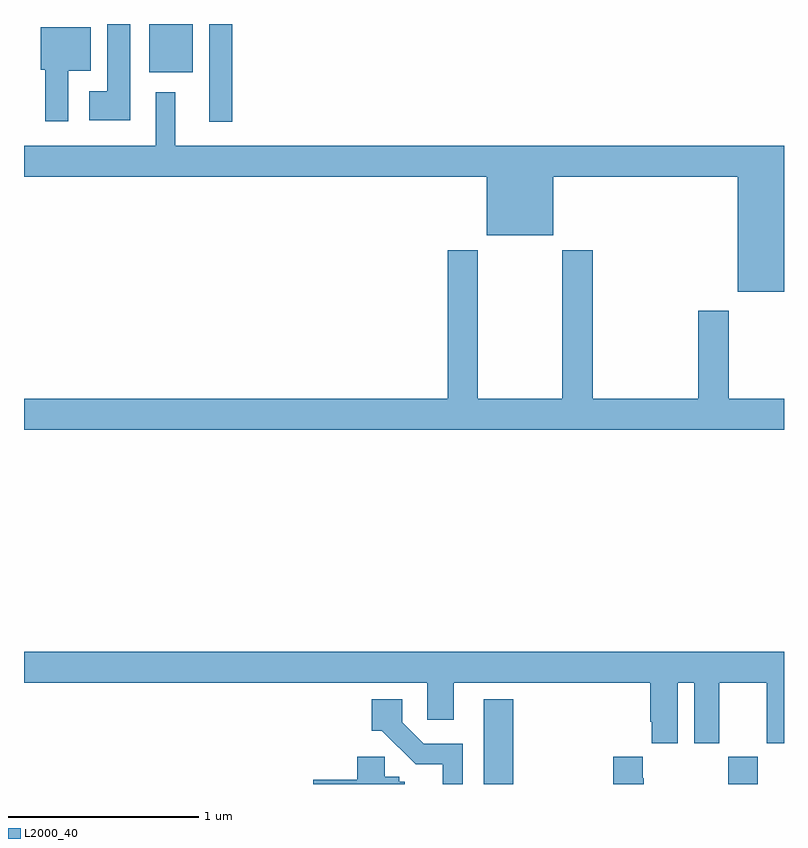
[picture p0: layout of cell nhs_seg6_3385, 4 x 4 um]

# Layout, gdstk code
import gdstk
lib = gdstk.Library(unit=1e-6, precision=1e-09)
def R(c, l, rs):  # rectangles x0, y0, x1, y1
    for r in rs: c.add(gdstk.rectangle(r[:2], r[2:], *l))
def P(c, l, *ps):  # polygons
    for p in ps: c.add(gdstk.Polygon(p, *l))
L2000_40 = (2000, 40)

nhs_seg6_3385 = lib.new_cell('nhs_seg6_3385')
R(nhs_seg6_3385, L2000_40, [(313.421,917.5,313.574,917.947), (314.707,917.5,314.862,917.644), (311.975,920.985,312.097,921.5), (311.66,921.245,311.887,921.499)])
P(nhs_seg6_3385, L2000_40, [(311.56,921.5),(311.438,921.5),(311.438,921.145),(311.343,921.145),(311.343,920.993),(311.56,920.993)],
  [(311.233,921.254),(311.35,921.254),(311.35,921.484),(311.087,921.484),(311.087,921.258),(311.111,921.258),(311.111,920.988),(311.233,920.988)],
  [(315,920.86),(311.797,920.86),(311.797,921.142),(311.693,921.142),(311.693,920.86),(311,920.86),(311,920.696),(313.436,920.696),(313.436,920.387),(313.786,920.387),(313.786,920.696),(314.756,920.696),(314.756,920.09),(315,920.09)],
  [(315,919.528),(314.709,919.528),(314.709,919.99),(314.549,919.99),(314.549,919.528),(313.994,919.528),(313.994,920.308),(313.834,920.308),(313.834,919.528),(313.389,919.528),(313.389,920.308),(313.229,920.308),(313.229,919.528),(311,919.528),(311,919.364),(315,919.364)],
  [(314.44,918.032),(314.528,918.032),(314.528,917.715),(314.659,917.715),(314.659,918.032),(314.909,918.032),(314.909,917.715),(315,917.715),(315,918.196),(311,918.196),(311,918.032),(313.122,918.032),(313.122,917.838),(313.261,917.838),(313.261,918.032),(314.297,918.032),(314.297,917.827),(314.303,917.827),(314.303,917.715),(314.44,917.715)],
  [(313.309,917.712),(313.104,917.712),(312.99,917.826),(312.99,917.947),(312.83,917.947),(312.83,917.78),(312.883,917.78),(313.061,917.603),(313.205,917.603),(313.205,917.5),(313.309,917.5)],
  [(314.262,917.531),(314.257,917.531),(314.257,917.644),(314.102,917.644),(314.102,917.5),(314.262,917.5)],
  [(313.003,917.511),(312.975,917.511),(312.975,917.538),(312.899,917.538),(312.899,917.643),(312.755,917.643),(312.755,917.522),(312.522,917.522),(312.522,917.5),(313.003,917.5)])

lib.write_gds('nhs_seg6_3385.gds')
